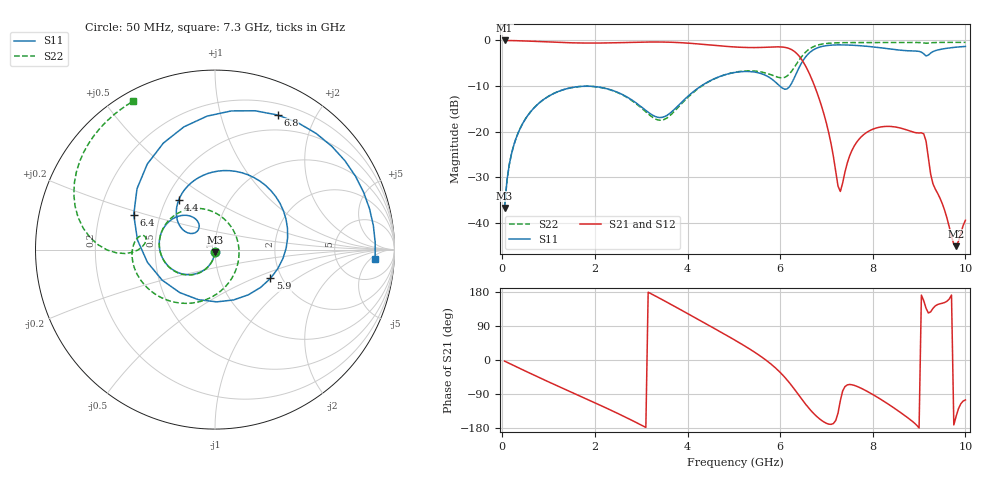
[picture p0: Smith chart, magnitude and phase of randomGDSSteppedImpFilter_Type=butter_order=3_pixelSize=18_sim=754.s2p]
! freq	dB(S11)	phase(S11)	dB(S12)	phase(S12)
!  dB(S21)	phase(S21)	dB(S22)	phase(S22)
!S-par simulation data
#  GHz  S  DB  R 50
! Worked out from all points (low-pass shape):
!   200 points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, 50 MHz to 10 GHz, reference 50 ohm
!   highest |S21| = -0.01 dB at 50 MHz (marker M1); lowest = -45.2 dB at 9.8 GHz (marker M2)
!   |S21| within 3 dB of the highest: start of sweep to 6.37 GHz
!   lowest |S11| = -36.8 dB at 50 MHz (marker M3), VSWR 1.03, Z = 49.9 - j1.44 ohm
!   |S11| at or under -10 dB: start of sweep to 4.294 GHz; 5.991 GHz to 6.211 GHz (220.4 MHz wide, 3.61 % of centre)
!   |S22| runs from -36.8 to -0.4 dB; largest |S21 - S12| = 0
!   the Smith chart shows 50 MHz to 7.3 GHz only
!   S11 on the Smith chart (normalised r, x): 50 MHz: 1.00, -0.03; 4.4 GHz: 0.58, +0.36; 5.9 GHz: 1.75, -0.64; 6.4 GHz: 0.35, +0.18; 6.8 GHz: 0.32, +1.52; 7.3 GHz: 14, -7
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0.05  -36.79 -92.4  -0.01 -3.0  -0.01 -3.0  -36.79 -92.3
0.2  -24.84 -102.1  -0.03 -11.8  -0.03 -11.8  -24.84 -101.9
0.5  -17.23 -120.1  -0.12 -29.3  -0.12 -29.3  -17.23 -119.5
1.75  -10.06 171.0  -0.57 -99.2  -0.57 -99.2  -10.07 169.7
2.7  -12.46 127.6  -0.45 -153.2  -0.45 -153.2  -12.56 105.8
3.4  -16.94 134.0  -0.35 162.8  -0.35 162.8  -17.53 10.7
4.4  -9.33 126.4  -0.92 95.4  -0.92 95.4  -9.42 -117.7
5.05  -6.99 79.4  -1.46 50.5  -1.46 50.5  -6.94 -159.0
5.9  -9.16 -27.4  -1.42 -21.0  -1.42 -21.0  -7.90 169.0
6.15  -10.63 -108.3  -1.63 -52.6  -1.63 -52.6  -7.82 177.9
6.4  -6.15 156.8  -3.33 -92.3  -3.33 -92.3  -4.45 -179.7
6.7  -2.18 83.3  -8.92 -138.1  -8.92 -138.1  -1.47 158.6
6.8  -1.65 65.1  -11.57 -150.0  -11.57 -150.0  -1.06 150.7
7.3  -0.98 -3.3  -33.17 -107.2  -33.17 -107.2  -0.50 118.8
7.55  -1.05 -31.5  -24.15 -65.3  -24.15 -65.3  -0.48 106.0
7.9  -1.31 -71.0  -20.00 -84.1  -20.00 -84.1  -0.47 89.8
8.35  -1.85 -128.7  -18.87 -117.7  -18.87 -117.7  -0.47 70.7
8.7  -2.23 177.4  -19.54 -147.4  -19.54 -147.4  -0.45 56.5
9.05  -2.56 116.7  -20.30 171.2  -20.30 171.2  -0.49 42.4
9.4  -2.10 72.4  -33.57 146.4  -33.57 146.4  -0.45 30.4
9.8  -1.48 24.5  -45.18 -148.6  -45.18 -148.6  -0.42 15.7
10  -1.32 5.5  -39.50 -105.4  -39.50 -105.4  -0.42 8.7
